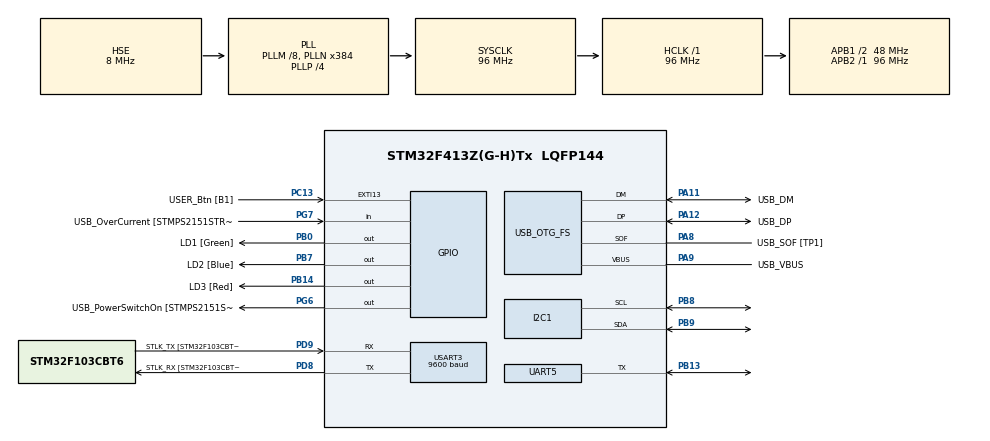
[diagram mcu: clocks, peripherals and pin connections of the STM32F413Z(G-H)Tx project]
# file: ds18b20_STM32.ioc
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Mcu.Family=STM32F4
Mcu.Name=STM32F413Z(G-H)Tx
Mcu.Package=LQFP144
NVIC.PriorityGroup=NVIC_PRIORITYGROUP_4
NVIC.UART5_IRQn=true\:0\:0\:false\:false\:true\:true\:true\:true
PA10.GPIO_Label=USB_ID
PA10.Signal=USB_OTG_FS_ID
PA11.GPIO_Label=USB_DM
PA11.Mode=Device_Only
PA11.Signal=USB_OTG_FS_DM
PA12.GPIO_Label=USB_DP
PA12.Mode=Device_Only
PA12.Signal=USB_OTG_FS_DP
PA13.GPIO_Label=TMS
PA13.Mode=Serial_Wire
PA13.Signal=SYS_JTMS-SWDIO
PA14.GPIO_Label=TCK
PA14.Mode=Serial_Wire
PA14.Signal=SYS_JTCK-SWCLK
PA8.GPIO_Label=USB_SOF [TP1]
PA8.Mode=Activate_SOF_FS
PA8.Signal=USB_OTG_FS_SOF
PA9.GPIO_Label=USB_VBUS
PA9.Mode=Activate_VBUS
PA9.Signal=USB_OTG_FS_VBUS
PB0.GPIO_Label=LD1 [Green]
PB0.Signal=GPIO_Output
PB13.Mode=Half_duplex(single_wire_mode)
PB13.Signal=UART5_TX
PB14.GPIO_Label=LD3 [Red]
PB14.Signal=GPIO_Output
PB3.GPIO_Label=SWO
PB3.Signal=SYS_JTDO-SWO
PB7.GPIO_Label=LD2 [Blue]
PB7.Signal=GPIO_Output
PB8.Mode=I2C
PB8.Signal=I2C1_SCL
PB9.Mode=I2C
PB9.Signal=I2C1_SDA
PC13.GPIO_Label=USER_Btn [B1]
PC13.Signal=GPXTI13
PC14-OSC32_IN.Mode=LSE-External-Oscillator
PC14-OSC32_IN.Signal=RCC_OSC32_IN
PC15-OSC32_OUT.Mode=LSE-External-Oscillator
PC15-OSC32_OUT.Signal=RCC_OSC32_OUT
PD8.GPIO_Label=STLK_RX [STM32F103CBT6_PA3]
PD8.Mode=Asynchronous
PD8.Signal=USART3_TX
PD9.GPIO_Label=STLK_TX [STM32F103CBT6_PA2]
PD9.Mode=Asynchronous
PD9.Signal=USART3_RX
PG6.GPIO_Label=USB_PowerSwitchOn [STMPS2151STR_EN]
PG6.Signal=GPIO_Output
PG7.GPIO_Label=USB_OverCurrent [STMPS2151STR_FAULT]
PG7.Signal=GPIO_Input
PH0\ -\ OSC_IN.GPIO_Label=MCO
PH0\ -\ OSC_IN.Mode=HSE-External-Clock-Source
PH0\ -\ OSC_IN.Signal=RCC_OSC_IN
PH1\ -\ OSC_OUT.Mode=HSE-External-Clock-Source
PH1\ -\ OSC_OUT.Signal=RCC_OSC_OUT
ProjectManager.HeapSize=0x200
ProjectManager.StackSize=0x400
ProjectManager.TargetToolchain=STM32CubeIDE
RCC.48MHZClocksFreq_Value=24000000
RCC.AHBFreq_Value=96000000
RCC.APB1CLKDivider=RCC_HCLK_DIV2
RCC.APB1Freq_Value=48000000
RCC.APB1TimFreq_Value=96000000
RCC.APB2Freq_Value=96000000
RCC.APB2TimFreq_Value=96000000
RCC.CortexFreq_Value=96000000
RCC.HCLKFreq_Value=96000000
RCC.HSE_VALUE=8000000
RCC.HSI_VALUE=16000000
RCC.PLLM=8
RCC.PLLMUL=RCC_PLL_MUL9
RCC.PLLN=384
RCC.PLLP=RCC_PLLP_DIV4
RCC.PLLQ=8
RCC.PRESCALERUSB=RCC_USBCLKSOURCE_PLL_DIV1_5
RCC.SYSCLKFreq_VALUE=96000000
RCC.SYSCLKSource=RCC_SYSCLKSOURCE_PLLCLK
RCC.SYSCLKSourceVirtual=RCC_SYSCLKSOURCE_PLLCLK
RCC.USBFreq_Value=48000000
RCC.VCOOutputFreq_Value=384000000
UART5.VirtualMode=Asynchronous
USART3.BaudRate=9600
USART3.VirtualMode=VM_ASYNC
USB_OTG_FS.VirtualMode=Device_Only
board=NUCLEO-F413ZH

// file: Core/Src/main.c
/* USER CODE BEGIN Header */
/**
  ******************************************************************************
  * @file           : main.c
  * @brief          : Main program body
  ******************************************************************************
  * @attention
  *
  * Copyright (c) 2023 STMicroelectronics.
  * All rights reserved.
  *
  * This software is licensed under terms that can be found in the LICENSE file
  * in the root directory of this software component.
  * If no LICENSE file comes with this software, it is provided AS-IS.
  *
  ******************************************************************************
  */
/* USER CODE END Header */
#include "main.h"

/* USER CODE BEGIN Includes */
#include "API_delay.h"
#include "API_debounce.h"
#include "API_uart.h"
#include "API_LCD_I2C.h"
#include "API_usDelay.h"
#include "OneWire.h"
/* USER CODE END Includes */

/* USER CODE BEGIN PD */

//===============Periodos en ms ====================
#define PERIOD_1 100
#define PERIOD_2 500
#define MENSAJE_I2C "caso1 "
#define MENSAJE_I2C_2 "caso2 "

/* USER CODE END PD */

I2C_HandleTypeDef hi2c1;

UART_HandleTypeDef huart5;
UART_HandleTypeDef huart3;

PCD_HandleTypeDef hpcd_USB_OTG_FS;

/* USER CODE BEGIN PV */

/* =============== Variables Definitions ====================== */
bool_t periodFlag = false;   //Bandera para conmutar entre DOS valores de Periodos
delay_t ledTimed;				//Estructura de temporizacion

bool_t  inicioUart;
char uartString[50]=" ";
char tempChar;
uint8_t	temp=0;

extern float Temp[MAXDEVICES_ON_THE_BUS];

/* ============================================================ */

/* USER CODE END PV */

void SystemClock_Config(void);
static void MX_GPIO_Init(void);
static void MX_USART3_UART_Init(void);
static void MX_USB_OTG_FS_PCD_Init(void);
static void MX_I2C1_Init(void);
static void MX_UART5_Init(void);

int main(void)
{

  /* MCU Configuration--------------------------------------------------------*/

  /* Reset of all peripherals, Initializes the Flash interface and the Systick. */
  HAL_Init();

  /* USER CODE BEGIN Init */

  /* ========== Init func ========== */
	BSP_LED_Init(LED2);			// Se nicializa el LED2 onboard a traves de funciones de BSP

	debounceFSM_init();			// Se inicializa la maquina de estados del antirrebote de pulsador

	delayInit(&ledTimed, PERIOD_1);		// Se inicializa la estructura de temporizacion

	get_ROMid();
  /* =========================================== */

  /* USER CODE END Init */

  /* Configure the system clock */
  SystemClock_Config();

  /* Initialize all configured peripherals */
  MX_GPIO_Init();
  MX_USART3_UART_Init();
  MX_USB_OTG_FS_PCD_Init();
  MX_I2C1_Init();
  MX_UART5_Init();
  /* USER CODE BEGIN 2 */

  inicioUart = uartInit();			//inicializacion de la uart y captura de inicializacion correcta/incorrecta
  if (!inicioUart)
  {
	  ErrorHandler();			// en caso de inicializacion incorrecta se llava a la funcion de reporte de error
  }

  lcd_begin ();
  lcd_init ();
  DWT_Init();

  /* USER CODE END 2 */

  /* Infinite loop */
  /* USER CODE BEGIN WHILE */
  while (1)
  {
	  debounceFSM_update();		// actualiza la maquina de estados del antirrebote de pulsador
	  sprintf(uartString, "%i\n",temp);
	  DWT_Delay(42);
	  get_Temperature();
	  HAL_Delay(1000);
	 	  	  if(readKey())							// ante la ocurrencia del preionado del pulsador se cambi el periodo del parpadeo de leds
	 	  	  	  {
	 	  		  	  if(periodFlag)					// una bandera se utiliza para conmutar el cambio de periodos de parpadeo
	 	  		  	  	  {
	 	  		  		  	  periodFlag=false;
	 	  		  		  	  delayWrite(&ledTimed, PERIOD_1);
	 	  		  		  	  //lcd_send_string (MENSAJE_I2C);
	 	  		  	  	  }
	 	  		  	  else
	 	  		  	  	  {
	 	  		  		  	  periodFlag=true;
	 	  		  			  delayWrite(&ledTimed, PERIOD_2);
	 	  		  			  //lcd_send_string (MENSAJE_I2C_2);
	 	  		  	  	  }
	 	  	  	  }

	 	  	  if(delayRead(&ledTimed))		// la funcion de temporizacion permite la inversion de estao de enciendido del led
	 	  	  	  {
	 	  		  	  BSP_LED_Toggle(LED2);
	 	  		  	uartSendString((uint8_t *) uartString);
	 	  		  	lcd_send_string (MENSAJE_I2C);
	 	  		  	temp++;
	 	  		  	if(temp>250) temp=0;
	 	  	  	  }
	 //lcd_send_string (MENSAJE_I2C);
    /* USER CODE END WHILE */

  }
}

void SystemClock_Config(void)
{
  RCC_OscInitTypeDef RCC_OscInitStruct = {0};
  RCC_ClkInitTypeDef RCC_ClkInitStruct = {0};

  /** Configure the main internal regulator output voltage
  */
  __HAL_RCC_PWR_CLK_ENABLE();
  __HAL_PWR_VOLTAGESCALING_CONFIG(PWR_REGULATOR_VOLTAGE_SCALE1);

  /** Initializes the RCC Oscillators according to the specified parameters
  * in the RCC_OscInitTypeDef structure.
  */
  RCC_OscInitStruct.OscillatorType = RCC_OSCILLATORTYPE_HSE;
  RCC_OscInitStruct.HSEState = RCC_HSE_BYPASS;
  RCC_OscInitStruct.PLL.PLLState = RCC_PLL_ON;
  RCC_OscInitStruct.PLL.PLLSource = RCC_PLLSOURCE_HSE;
  RCC_OscInitStruct.PLL.PLLM = 8;
  RCC_OscInitStruct.PLL.PLLN = 384;
  RCC_OscInitStruct.PLL.PLLP = RCC_PLLP_DIV4;
  RCC_OscInitStruct.PLL.PLLQ = 8;
  RCC_OscInitStruct.PLL.PLLR = 2;
  if (HAL_RCC_OscConfig(&RCC_OscInitStruct) != HAL_OK)
  {
    Error_Handler();
  }

  /** Initializes the CPU, AHB and APB buses clocks
  */
  RCC_ClkInitStruct.ClockType = RCC_CLOCKTYPE_HCLK|RCC_CLOCKTYPE_SYSCLK
                              |RCC_CLOCKTYPE_PCLK1|RCC_CLOCKTYPE_PCLK2;
  RCC_ClkInitStruct.SYSCLKSource = RCC_SYSCLKSOURCE_PLLCLK;
  RCC_ClkInitStruct.AHBCLKDivider = RCC_SYSCLK_DIV1;
  RCC_ClkInitStruct.APB1CLKDivider = RCC_HCLK_DIV2;
  RCC_ClkInitStruct.APB2CLKDivider = RCC_HCLK_DIV1;

  if (HAL_RCC_ClockConfig(&RCC_ClkInitStruct, FLASH_LATENCY_3) != HAL_OK)
  {
    Error_Handler();
  }
}

static void MX_I2C1_Init(void)
{

  hi2c1.Instance = I2C1;
  hi2c1.Init.ClockSpeed = 100000;
  hi2c1.Init.DutyCycle = I2C_DUTYCYCLE_2;
  hi2c1.Init.OwnAddress1 = 0;
  hi2c1.Init.AddressingMode = I2C_ADDRESSINGMODE_7BIT;
  hi2c1.Init.DualAddressMode = I2C_DUALADDRESS_DISABLE;
  hi2c1.Init.OwnAddress2 = 0;
  hi2c1.Init.GeneralCallMode = I2C_GENERALCALL_DISABLE;
  hi2c1.Init.NoStretchMode = I2C_NOSTRETCH_DISABLE;
  if (HAL_I2C_Init(&hi2c1) != HAL_OK)
  {
    Error_Handler();
  }

}

static void MX_UART5_Init(void)
{

  huart5.Instance = UART5;
  huart5.Init.BaudRate = 115200;
  huart5.Init.WordLength = UART_WORDLENGTH_8B;
  huart5.Init.StopBits = UART_STOPBITS_1;
  huart5.Init.Parity = UART_PARITY_NONE;
  huart5.Init.Mode = UART_MODE_TX_RX;
  huart5.Init.HwFlowCtl = UART_HWCONTROL_NONE;
  huart5.Init.OverSampling = UART_OVERSAMPLING_16;
  if (HAL_HalfDuplex_Init(&huart5) != HAL_OK)
  {
    Error_Handler();
  }

}

static void MX_USART3_UART_Init(void)
{

  huart3.Instance = USART3;
  huart3.Init.BaudRate = 9600;
  huart3.Init.WordLength = UART_WORDLENGTH_8B;
  huart3.Init.StopBits = UART_STOPBITS_1;
  huart3.Init.Parity = UART_PARITY_NONE;
  huart3.Init.Mode = UART_MODE_TX_RX;
  huart3.Init.HwFlowCtl = UART_HWCONTROL_NONE;
  huart3.Init.OverSampling = UART_OVERSAMPLING_16;
  if (HAL_UART_Init(&huart3) != HAL_OK)
  {
    Error_Handler();
  }

}

static void MX_USB_OTG_FS_PCD_Init(void)
{

  hpcd_USB_OTG_FS.Instance = USB_OTG_FS;
  hpcd_USB_OTG_FS.Init.dev_endpoints = 6;
  hpcd_USB_OTG_FS.Init.speed = PCD_SPEED_FULL;
  hpcd_USB_OTG_FS.Init.dma_enable = DISABLE;
  hpcd_USB_OTG_FS.Init.phy_itface = PCD_PHY_EMBEDDED;
  hpcd_USB_OTG_FS.Init.Sof_enable = ENABLE;
  hpcd_USB_OTG_FS.Init.low_power_enable = DISABLE;
  hpcd_USB_OTG_FS.Init.lpm_enable = DISABLE;
  hpcd_USB_OTG_FS.Init.battery_charging_enable = ENABLE;
  hpcd_USB_OTG_FS.Init.vbus_sensing_enable = ENABLE;
  hpcd_USB_OTG_FS.Init.use_dedicated_ep1 = DISABLE;
  if (HAL_PCD_Init(&hpcd_USB_OTG_FS) != HAL_OK)
  {
    Error_Handler();
  }

}

static void MX_GPIO_Init(void)
{
  GPIO_InitTypeDef GPIO_InitStruct = {0};

  /* GPIO Ports Clock Enable */
  __HAL_RCC_GPIOC_CLK_ENABLE();
  __HAL_RCC_GPIOH_CLK_ENABLE();
  __HAL_RCC_GPIOB_CLK_ENABLE();
  __HAL_RCC_GPIOD_CLK_ENABLE();
  __HAL_RCC_GPIOG_CLK_ENABLE();
  __HAL_RCC_GPIOA_CLK_ENABLE();

  /*Configure GPIO pin Output Level */
  HAL_GPIO_WritePin(GPIOB, LD1_Pin|LD3_Pin|LD2_Pin, GPIO_PIN_RESET);

  /*Configure GPIO pin Output Level */
  HAL_GPIO_WritePin(USB_PowerSwitchOn_GPIO_Port, USB_PowerSwitchOn_Pin, GPIO_PIN_RESET);

  /*Configure GPIO pin : USER_Btn_Pin */
  GPIO_InitStruct.Pin = USER_Btn_Pin;
  GPIO_InitStruct.Mode = GPIO_MODE_IT_RISING;
  GPIO_InitStruct.Pull = GPIO_NOPULL;
  HAL_GPIO_Init(USER_Btn_GPIO_Port, &GPIO_InitStruct);

  /*Configure GPIO pins : LD1_Pin LD3_Pin LD2_Pin */
  GPIO_InitStruct.Pin = LD1_Pin|LD3_Pin|LD2_Pin;
  GPIO_InitStruct.Mode = GPIO_MODE_OUTPUT_PP;
  GPIO_InitStruct.Pull = GPIO_NOPULL;
  GPIO_InitStruct.Speed = GPIO_SPEED_FREQ_LOW;
  HAL_GPIO_Init(GPIOB, &GPIO_InitStruct);

  /*Configure GPIO pin : USB_PowerSwitchOn_Pin */
  GPIO_InitStruct.Pin = USB_PowerSwitchOn_Pin;
  GPIO_InitStruct.Mode = GPIO_MODE_OUTPUT_PP;
  GPIO_InitStruct.Pull = GPIO_NOPULL;
  GPIO_InitStruct.Speed = GPIO_SPEED_FREQ_LOW;
  HAL_GPIO_Init(USB_PowerSwitchOn_GPIO_Port, &GPIO_InitStruct);

  /*Configure GPIO pin : USB_OverCurrent_Pin */
  GPIO_InitStruct.Pin = USB_OverCurrent_Pin;
  GPIO_InitStruct.Mode = GPIO_MODE_INPUT;
  GPIO_InitStruct.Pull = GPIO_NOPULL;
  HAL_GPIO_Init(USB_OverCurrent_GPIO_Port, &GPIO_InitStruct);

}

void Error_Handler(void)
{
  /* USER CODE BEGIN Error_Handler_Debug */
  /* User can add his own implementation to report the HAL error return state */
  /* Si un error ocurre el USER LED RED permanece encendido*/
	HAL_GPIO_WritePin(GPIOB, LD3_Pin, GPIO_PIN_SET);
  __disable_irq();
  while (1)
  {
  }
  /* USER CODE END Error_Handler_Debug */
}
